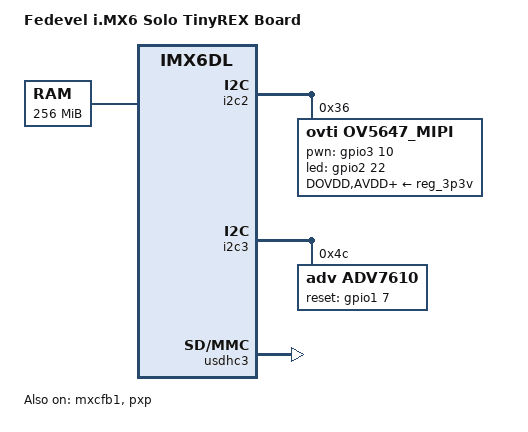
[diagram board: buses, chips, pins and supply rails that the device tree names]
/*
 * Copyright (C) 2015 Voipac.
 *
 * This program is free software; you can redistribute it and/or modify
 * it under the terms of the GNU General Public License version 2 as
 * published by the Free Software Foundation.
 */

/dts-v1/;

#include "imx6dl.dtsi"
#include "imx6qdl-tinyrex.dtsi"

/ {
	model = "Fedevel i.MX6 Solo TinyREX Board";
	compatible = "fsl,imx6dl-tinyrex", "fsl,imx6dl";

	memory {
		reg = <0x10000000 0x10000000>;
	};
};

&i2c2 {
	/* Raspberry Pi camera rev 1.3 */
	ov5647_mipi: ov5647_mipi@36 {
		compatible = "ovti,ov5647_mipi";
		reg = <0x36>;
		/* Pi camera has its own 25MHz clock. */
		clocks = <&clks 0>;
		clock-names = "csi_mclk";
		DOVDD-supply = <&reg_3p3v>;
		AVDD-supply = <&reg_3p3v>;
		DVDD-supply = <&reg_3p3v>;
		pwn-gpios = <&gpio3 10 GPIO_ACTIVE_HIGH>;
		led-gpios = <&gpio2 22 GPIO_ACTIVE_HIGH>;
		ipu_id = <0>;
		csi_id = <1>;
		mclk = <25000000>;
		mclk_source = <0>;
		pinctrl-names = "default";
		pinctrl-0 = <&pinctrl_ov5647_mipi>;
		extended-buffer;
	};
};

&i2c3 {
	adv7610: adv7610@4C {
		compatible = "adv,adv7610";
		reg = <0x4C>;
		pinctrl-names = "default";
		pinctrl-0 = <&pinctrl_ipu1_csi0>;
		csi_id = <0>;
		ipu_id = <0>;
		reset-gpio = <&gpio1 7 0>;
	};
};

&mxcfb1 {
	status = "okay";
};

&mxcfb2 {
	status = "disabled";
};

&pxp {
	status = "okay";
};

&usdhc3 {
	status = "okay";
};
